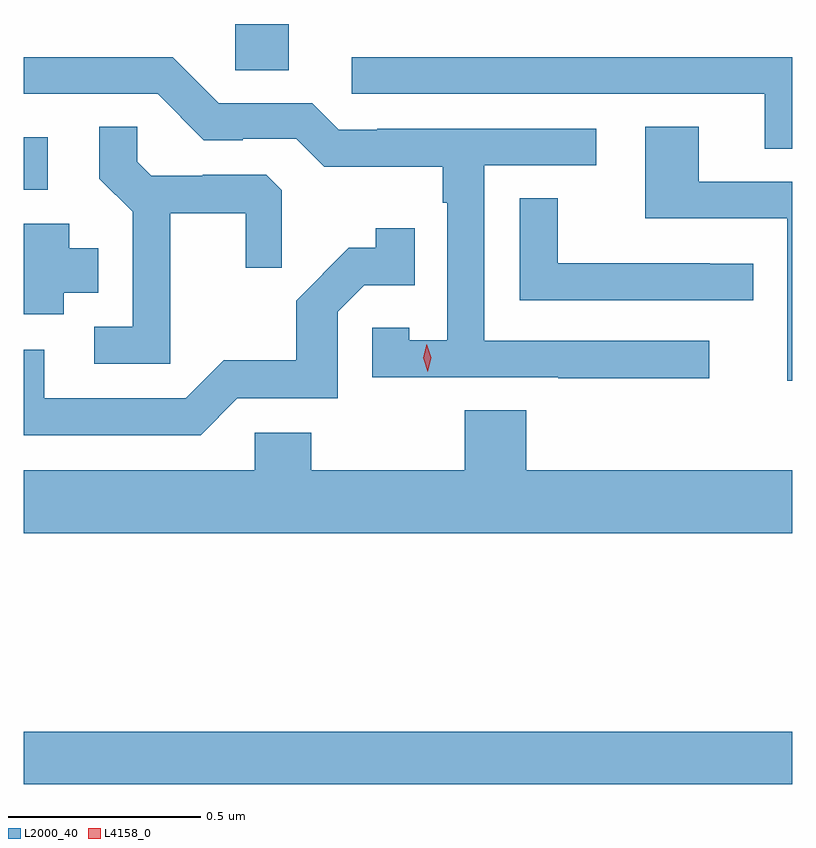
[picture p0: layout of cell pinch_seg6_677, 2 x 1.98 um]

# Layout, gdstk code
import gdstk
lib = gdstk.Library(unit=1e-6, precision=1e-09)
def R(c, l, rs):  # rectangles x0, y0, x1, y1
    for r in rs: c.add(gdstk.rectangle(r[:2], r[2:], *l))
def P(c, l, *ps):  # polygons
    for p in ps: c.add(gdstk.Polygon(p, *l))
L2000_40 = (2000, 40)
L4158_0 = (4158, 0)

pinch_seg6_677 = lib.new_cell('pinch_seg6_677')
R(pinch_seg6_677, L2000_40, [(387.626,928.036,389.626,928.172), (387.626,929.583,387.688,929.719), (388.176,929.893,388.315,930.014)])
P(pinch_seg6_677, L2000_40, [(389.41,929.19),(388.824,929.19),(388.824,929.646),(389.116,929.646),(389.116,929.742),(388.546,929.742),(388.546,929.739),(388.446,929.739),(388.377,929.808),(388.134,929.808),(388.014,929.928),(387.626,929.928),(387.626,929.832),(387.975,929.832),(388.095,929.712),(388.196,929.712),(388.196,929.715),(388.335,929.715),(388.408,929.642),(388.716,929.642),(388.716,929.549),(388.728,929.549),(388.728,929.191),(388.629,929.191),(388.629,929.223),(388.533,929.223),(388.533,929.094),(389.017,929.094),(389.017,929.092),(389.41,929.092)],
  [(389.626,929.928),(388.479,929.928),(388.479,929.832),(389.555,929.832),(389.555,929.689),(389.626,929.689)],
  [(388.007,929.522),(388.204,929.522),(388.204,929.379),(388.298,929.379),(388.298,929.581),(388.257,929.622),(388.092,929.622),(388.092,929.619),(387.958,929.619),(387.921,929.656),(387.921,929.747),(387.823,929.747),(387.823,929.611),(387.909,929.525),(387.909,929.226),(387.81,929.226),(387.81,929.13),(388.007,929.13)],
  [(389.626,929.604),(389.383,929.604),(389.383,929.747),(389.243,929.747),(389.243,929.508),(389.613,929.508),(389.613,929.085),(389.626,929.085)],
  [(389.524,929.39),(389.411,929.39),(389.411,929.391),(389.016,929.391),(389.016,929.561),(388.917,929.561),(388.917,929.295),(389.524,929.295)],
  [(387.73,929.315),(387.82,929.315),(387.82,929.431),(387.745,929.431),(387.745,929.494),(387.626,929.494),(387.626,929.258),(387.73,929.258)],
  [(388.182,929.04),(388.443,929.04),(388.443,929.265),(388.512,929.334),(388.643,929.334),(388.643,929.482),(388.542,929.482),(388.542,929.432),(388.472,929.432),(388.335,929.294),(388.335,929.139),(388.146,929.139),(388.047,929.04),(387.679,929.04),(387.679,929.166),(387.626,929.166),(387.626,928.944),(388.086,928.944)],
  [(389.626,928.852),(388.934,928.852),(388.934,929.009),(388.774,929.009),(388.774,928.852),(388.374,928.852),(388.374,928.95),(388.227,928.95),(388.227,928.852),(387.626,928.852),(387.626,928.688),(389.626,928.688)])
P(pinch_seg6_677, L4158_0, [(388.677,929.109),(388.677,929.109),(388.666,929.145),(388.675,929.181),(388.675,929.181),(388.675,929.181),(388.686,929.146),(388.677,929.109)])

lib.write_gds('pinch_seg6_677.gds')
